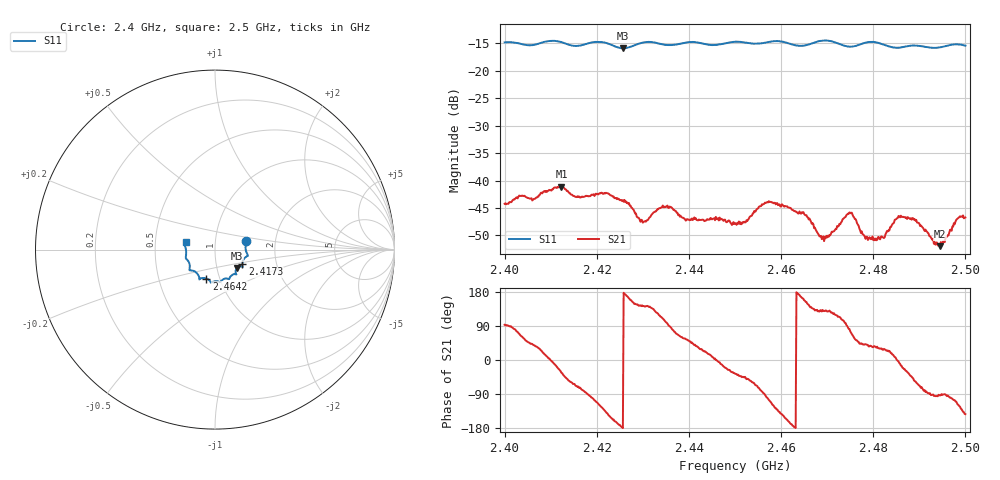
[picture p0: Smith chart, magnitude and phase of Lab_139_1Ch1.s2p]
# Hz S RI R 50
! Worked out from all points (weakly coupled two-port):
!   601 points, 2.4 GHz to 2.5 GHz, reference 50 ohm
!   highest |S21| = -41.14 dB at 2.4123 GHz (marker M1); lowest = -51.9 dB at 2.4945 GHz (marker M2)
!   lowest |S11| = -15.9 dB at 2.4257 GHz (marker M3), VSWR 1.38, Z = 62.4 - j13.1 ohm
!   |S11| at or under -10 dB: start of sweep to end of sweep
!   S12 and S22 are empty: the file has one direction only
!   S11 on the Smith chart (normalised r, x): 2.4 GHz: 1.41, +0.14; 2.4173 GHz: 1.34, -0.23; 2.4642 GHz: 0.86, -0.29; 2.5 GHz: 0.72, +0.06
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2.4e9  0.1738 0.0494  -0.000318 0.00614  0 0  0 0
2.412333e9  0.1779 -0.0376  0.0073 -0.00486  0 0  0 0
2.416667e9  0.1528 -0.0747  0.00152 -0.0069  0 0  0 0
2.417333e9  0.1523 -0.0823  0.000837 -0.00709  0 0  0 0
2.422167e9  0.1509 -0.0945  -0.00588 -0.00495  0 0  0 0
2.425667e9  0.1223 -0.1026  -0.00662 -2.7e-05  0 0  0 0
2.429833e9  0.1172 -0.1356  -0.00353 0.00255  0 0  0 0
2.433333e9  0.1125 -0.1365  -0.00287 0.00466  0 0  0 0
2.45e9  0.0293 -0.1809  0.00327 -0.00237  0 0  0 0
2.457333e9  -0.0153 -0.1817  -0.00169 -0.00626  0 0  0 0
2.464167e9  -0.0483 -0.1611  -0.00492 0.00103  0 0  0 0
2.466667e9  -0.0763 -0.1595  -0.00296 0.00274  0 0  0 0
2.469167e9  -0.0875 -0.1664  -0.00197 0.0024  0 0  0 0
2.474833e9  -0.1049 -0.1276  0.000735 0.00507  0 0  0 0
2.4785e9  -0.1385 -0.1157  0.00233 0.00201  0 0  0 0
2.482e9  -0.1407 -0.1026  0.00271 0.00139  0 0  0 0
2.483333e9  -0.1404 -0.0895  0.00327 0.00136  0 0  0 0
2.4855e9  -0.147 -0.067  0.00475 -0.000369  0 0  0 0
2.4885e9  -0.162 -0.0486  0.00313 -0.00332  0 0  0 0
2.4945e9  -0.1629 0.0047  -0.000161 -0.00252  0 0  0 0
2.498333e9  -0.1704 0.0331  -0.00207 -0.00401  0 0  0 0
2.5e9  -0.1636 0.0417  -0.00368 -0.00277  0 0  0 0
